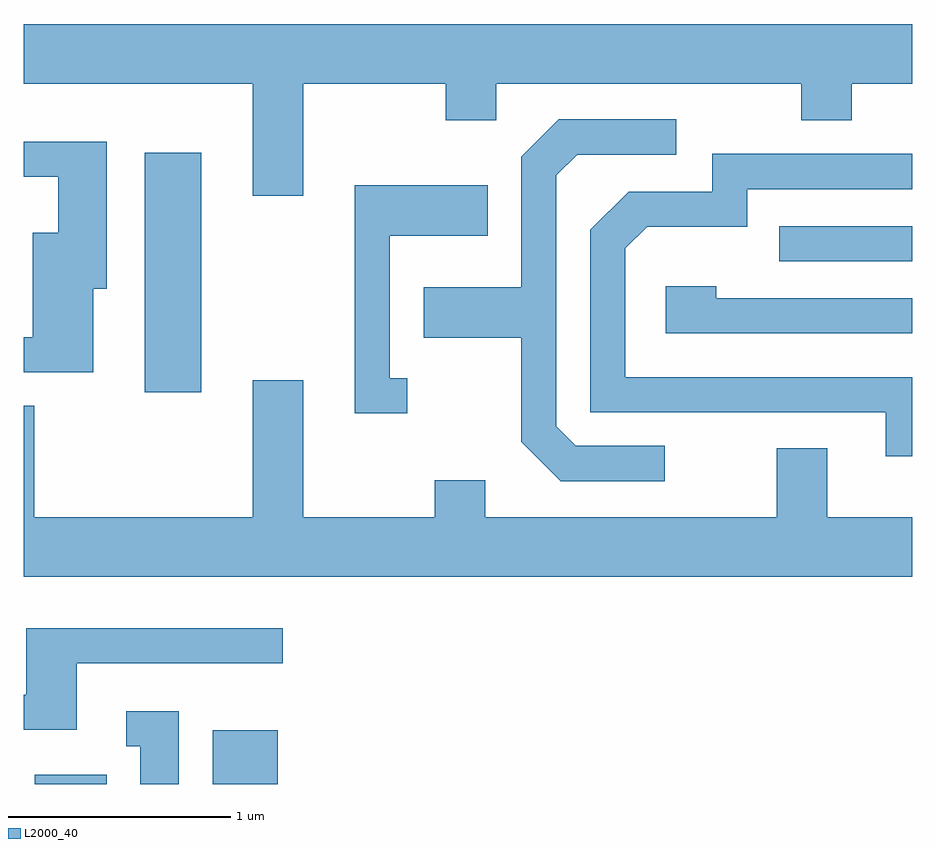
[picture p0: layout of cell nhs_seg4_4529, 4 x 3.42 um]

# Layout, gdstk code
import gdstk
lib = gdstk.Library(unit=1e-6, precision=1e-09)
def R(c, l, rs):  # rectangles x0, y0, x1, y1
    for r in rs: c.add(gdstk.rectangle(r[:2], r[2:], *l))
def P(c, l, *ps):  # polygons
    for p in ps: c.add(gdstk.Polygon(p, *l))
L2000_40 = (2000, 40)

nhs_seg4_4529 = lib.new_cell('nhs_seg4_4529')
R(nhs_seg4_4529, L2000_40, [(317.661,1335.982,317.984,1336.024), (318.461,1335.982,318.754,1336.224), (318.156,1337.746,318.409,1338.824), (321.013,1338.336,321.611,1338.494)])
P(nhs_seg4_4529, L2000_40, [(318.869,1339.136),(319.511,1339.136),(319.511,1338.971),(319.739,1338.971),(319.739,1339.136),(321.111,1339.136),(321.111,1338.971),(321.339,1338.971),(321.339,1339.136),(321.611,1339.136),(321.611,1339.404),(317.611,1339.404),(317.611,1339.136),(318.641,1339.136),(318.641,1338.631),(318.869,1338.631)],
  [(320.498,1337.504),(320.097,1337.504),(320.009,1337.592),(320.009,1338.724),(320.102,1338.816),(320.548,1338.816),(320.548,1338.974),(320.019,1338.974),(319.851,1338.807),(319.851,1338.219),(319.411,1338.219),(319.411,1337.991),(319.851,1337.991),(319.851,1337.524),(320.029,1337.346),(320.498,1337.346)],
  [(317.924,1338.211),(317.984,1338.211),(317.984,1338.874),(317.611,1338.874),(317.611,1338.716),(317.766,1338.716),(317.766,1338.464),(317.651,1338.464),(317.651,1337.994),(317.611,1337.994),(317.611,1337.836),(317.924,1337.836)],
  [(321.611,1337.814),(320.319,1337.814),(320.319,1338.394),(320.417,1338.491),(320.869,1338.491),(320.869,1338.661),(321.611,1338.661),(321.611,1338.819),(320.711,1338.819),(320.711,1338.649),(320.334,1338.649),(320.161,1338.477),(320.161,1337.656),(321.491,1337.656),(321.491,1337.458),(321.611,1337.458)],
  [(319.338,1337.809),(319.259,1337.809),(319.259,1338.451),(319.699,1338.451),(319.699,1338.679),(319.101,1338.679),(319.101,1337.651),(319.338,1337.651)],
  [(321.611,1338.169),(320.729,1338.169),(320.729,1338.224),(320.501,1338.224),(320.501,1338.011),(321.611,1338.011)],
  [(321.611,1337.184),(321.229,1337.184),(321.229,1337.494),(321.001,1337.494),(321.001,1337.184),(319.689,1337.184),(319.689,1337.349),(319.461,1337.349),(319.461,1337.184),(318.869,1337.184),(318.869,1337.799),(318.641,1337.799),(318.641,1337.184),(317.659,1337.184),(317.659,1337.684),(317.611,1337.684),(317.611,1336.916),(321.611,1336.916)],
  [(317.849,1336.526),(318.778,1336.526),(318.778,1336.684),(317.621,1336.684),(317.621,1336.384),(317.611,1336.384),(317.611,1336.226),(317.849,1336.226)],
  [(318.309,1336.309),(318.073,1336.309),(318.073,1336.151),(318.136,1336.151),(318.136,1335.982),(318.309,1335.982)])

lib.write_gds('nhs_seg4_4529.gds')
